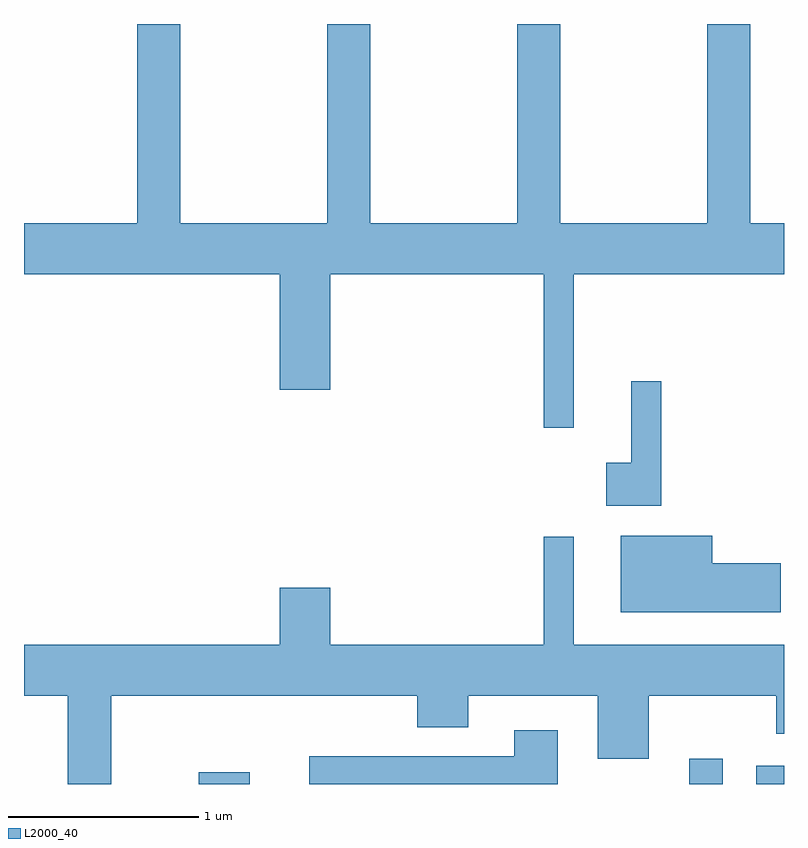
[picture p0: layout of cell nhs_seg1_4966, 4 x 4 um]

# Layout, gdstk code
import gdstk
lib = gdstk.Library(unit=1e-6, precision=1e-09)
def R(c, l, rs):  # rectangles x0, y0, x1, y1
    for r in rs: c.add(gdstk.rectangle(r[:2], r[2:], *l))
def P(c, l, *ps):  # polygons
    for p in ps: c.add(gdstk.Polygon(p, *l))
L2000_40 = (2000, 40)

nhs_seg1_4966 = lib.new_cell('nhs_seg1_4966')
R(nhs_seg1_4966, L2000_40, [(334.531,965.712,334.799,965.774), (337.111,965.712,337.289,965.844), (337.466,965.712,337.611,965.809)])
P(nhs_seg1_4966, L2000_40, [(336.504,968.396),(337.611,968.396),(337.611,968.664),(337.434,968.664),(337.434,969.712),(337.206,969.712),(337.206,968.664),(336.434,968.664),(336.434,969.712),(336.206,969.712),(336.206,968.664),(335.434,968.664),(335.434,969.712),(335.206,969.712),(335.206,968.664),(334.434,968.664),(334.434,969.712),(334.206,969.712),(334.206,968.664),(333.611,968.664),(333.611,968.396),(334.956,968.396),(334.956,967.786),(335.224,967.786),(335.224,968.396),(336.346,968.396),(336.346,967.588),(336.504,967.588)],
  [(336.964,967.833),(336.806,967.833),(336.806,967.404),(336.676,967.404),(336.676,967.176),(336.964,967.176)],
  [(337.594,966.874),(337.234,966.874),(337.234,967.019),(336.751,967.019),(336.751,966.616),(337.594,966.616)],
  [(334.069,966.176),(335.681,966.176),(335.681,966.011),(335.949,966.011),(335.949,966.176),(336.631,966.176),(336.631,965.846),(336.899,965.846),(336.899,966.176),(337.571,966.176),(337.571,965.976),(337.611,965.976),(337.611,966.444),(336.504,966.444),(336.504,967.013),(336.346,967.013),(336.346,966.444),(335.224,966.444),(335.224,966.744),(334.956,966.744),(334.956,966.444),(333.611,966.444),(333.611,966.176),(333.841,966.176),(333.841,965.712),(334.069,965.712)],
  [(336.419,965.994),(336.191,965.994),(336.191,965.859),(335.111,965.859),(335.111,965.712),(336.419,965.712)])

lib.write_gds('nhs_seg1_4966.gds')
